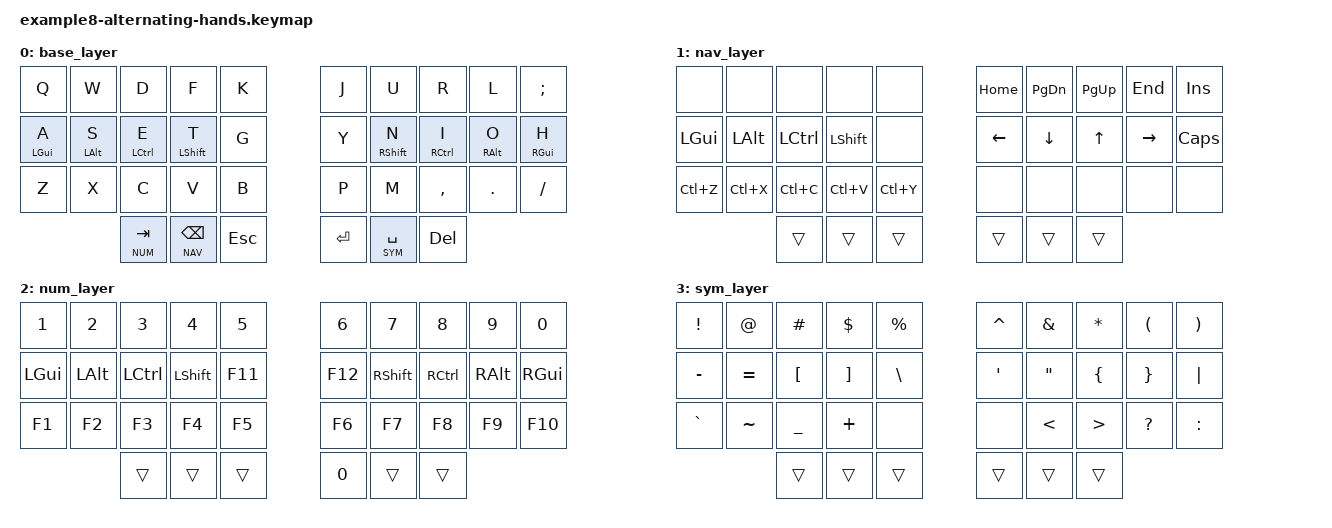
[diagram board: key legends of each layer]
// Example 8: Alternating Hands Priority
// Philosophy: Maximize hand alternation for speed and comfort
// Focus: Common bigrams split across hands, roll-friendly sequences
// Thumb Strategy: Symmetric - each thumb cluster mirrors the other

#include <behaviors.dtsi>
#include <dt-bindings/zmk/keys.h>

#define BASE 0
#define NAV  1
#define NUM  2
#define SYM  3

/ {
    keymap {
        compatible = "zmk,keymap";

        base_layer {
            bindings = <
    // ╭─────────────┬─────────────┬─────────────┬─────────────┬─────────────╮   ╭─────────────┬─────────────┬─────────────┬─────────────┬─────────────╮
         &kp Q         &kp W         &kp D         &kp F         &kp K             &kp J         &kp U         &kp R         &kp L         &kp SEMI
    // ├─────────────┼─────────────┼─────────────┼─────────────┼─────────────┤   ├─────────────┼─────────────┼─────────────┼─────────────┼─────────────┤
         &mt LGUI A    &mt LALT S    &mt LCTRL E   &mt LSHFT T   &kp G             &kp Y         &mt RSHFT N   &mt RCTRL I   &mt RALT O    &mt RGUI H
    // ├─────────────┼─────────────┼─────────────┼─────────────┼─────────────┤   ├─────────────┼─────────────┼─────────────┼─────────────┼─────────────┤
         &kp Z         &kp X         &kp C         &kp V         &kp B             &kp P         &kp M         &kp COMMA     &kp DOT       &kp FSLH
    // ╰─────────────┴─────────────┴─────────────┼─────────────┼─────────────┤   ├─────────────┼─────────────┼─────────────┴─────────────┴─────────────╯
                                     &lt NUM TAB   &lt NAV BSPC  &kp ESC           &kp RET       &lt SYM SPACE &kp DEL
    //                               ╰─────────────┴─────────────┴─────────────╯   ╰─────────────┴─────────────┴─────────────╯
            >;
        };

        nav_layer {
            bindings = <
         &none         &none         &none         &none         &none             &kp HOME      &kp PG_DN     &kp PG_UP     &kp END       &kp INS
         &kp LGUI      &kp LALT      &kp LCTRL     &kp LSHFT     &none             &kp LEFT      &kp DOWN      &kp UP        &kp RIGHT     &kp CAPS
         &kp LC(Z)     &kp LC(X)     &kp LC(C)     &kp LC(V)     &kp LC(Y)         &none         &none         &none         &none         &none
                                     &trans        &trans        &trans            &trans        &trans        &trans
            >;
        };

        num_layer {
            bindings = <
         &kp N1        &kp N2        &kp N3        &kp N4        &kp N5            &kp N6        &kp N7        &kp N8        &kp N9        &kp N0
         &kp LGUI      &kp LALT      &kp LCTRL     &kp LSHFT     &kp F11           &kp F12       &kp RSHFT     &kp RCTRL     &kp RALT      &kp RGUI
         &kp F1        &kp F2        &kp F3        &kp F4        &kp F5            &kp F6        &kp F7        &kp F8        &kp F9        &kp F10
                                     &trans        &trans        &trans            &kp N0        &trans        &trans
            >;
        };

        sym_layer {
            bindings = <
         &kp EXCL      &kp AT        &kp HASH      &kp DLLR      &kp PRCNT         &kp CARET     &kp AMPS      &kp STAR      &kp LPAR      &kp RPAR
         &kp MINUS     &kp EQUAL     &kp LBKT      &kp RBKT      &kp BSLH          &kp SQT       &kp DQT       &kp LBRC      &kp RBRC      &kp PIPE
         &kp GRAVE     &kp TILDE     &kp UNDER     &kp PLUS      &none             &none         &kp LT        &kp GT        &kp QMARK     &kp COLON
                                     &trans        &trans        &trans            &trans        &trans        &trans
            >;
        };
    };
};
